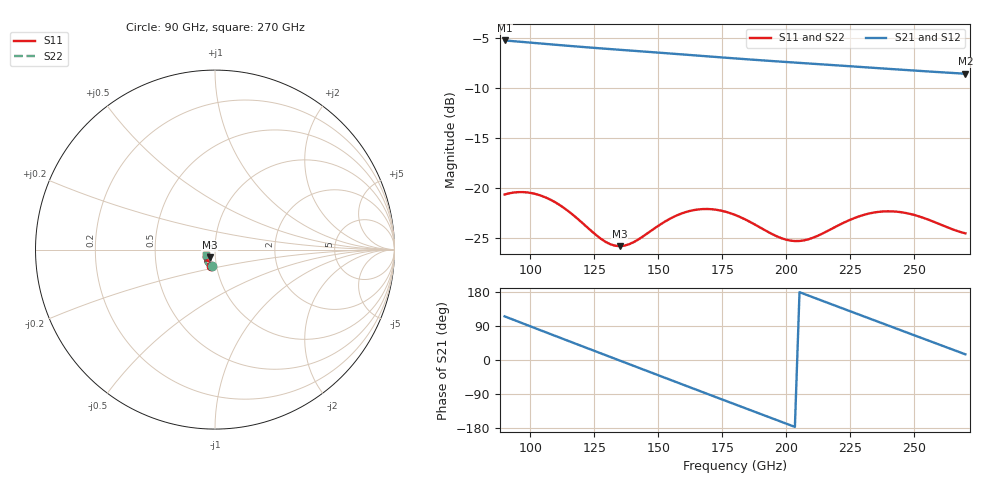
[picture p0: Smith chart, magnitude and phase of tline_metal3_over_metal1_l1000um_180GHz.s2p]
#  GHZ S DB R 50
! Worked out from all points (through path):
!   101 points, 90 GHz to 270 GHz, reference 50 ohm
!   highest |S21| = -5.29 dB at 90 GHz (marker M1); lowest = -8.6 dB at 270 GHz (marker M2)
!   group delay of S21, straight-line fit = 7.1 ps
!   lowest |S11| = -25.8 dB at 135 GHz (marker M3), VSWR 1.11, Z = 47 - j3.95 ohm
!   |S11| at or under -10 dB: start of sweep to end of sweep
!   |S22| runs from -25.8 to -20.3 dB; largest |S21 - S12| = 6.7e-14
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90  -20.66 -102.5  -5.29 115.2  -5.29 115.2  -20.53 -101.0
97.2  -20.43 -112.7  -5.45 96.4  -5.45 96.4  -20.31 -111.5
104.4  -20.79 -122.8  -5.60 77.6  -5.60 77.6  -20.70 -121.8
111.6  -21.73 -131.4  -5.76 58.9  -5.76 58.9  -21.66 -130.5
120.6  -23.55 -136.9  -5.95 35.6  -5.95 35.6  -23.53 -136.1
127.8  -25.11 -134.1  -6.09 17.0  -6.09 17.0  -25.12 -133.2
135  -25.82 -125.0  -6.22 -1.5  -6.22 -1.5  -25.82 -123.8
142.2  -25.16 -116.7  -6.36 -20.1  -6.36 -20.1  -25.12 -115.4
151.2  -23.59 -115.4  -6.53 -43.2  -6.53 -43.2  -23.53 -114.3
158.4  -22.63 -120.0  -6.67 -61.7  -6.67 -61.7  -22.56 -119.0
165.6  -22.15 -126.8  -6.81 -80.2  -6.81 -80.2  -22.09 -126.0
172.8  -22.19 -134.0  -6.95 -98.6  -6.95 -98.6  -22.13 -133.3
180  -22.70 -140.2  -7.08 -117.0  -7.08 -117.0  -22.65 -139.6
189  -23.84 -144.1  -7.25 -139.9  -7.25 -139.9  -23.80 -143.7
196.2  -24.82 -142.5  -7.38 -158.2  -7.38 -158.2  -24.80 -142.0
203.4  -25.31 -136.7  -7.50 -176.5  -7.50 -176.5  -25.30 -136.3
210.6  -24.96 -130.6  -7.62 165.2  -7.62 165.2  -24.97 -130.3
226.8  -23.00 -130.6  -7.90 124.0  -7.90 124.0  -23.03 -130.3
241.2  -22.34 -140.8  -8.15 87.6  -8.15 87.6  -22.41 -140.7
253.8  -23.01 -148.7  -8.36 55.8  -8.36 55.8  -23.13 -148.7
262.8  -23.92 -150.1  -8.50 33.1  -8.50 33.1  -24.09 -149.9
270  -24.54 -147.6  -8.61 14.9  -8.61 14.9  -24.73 -147.1
